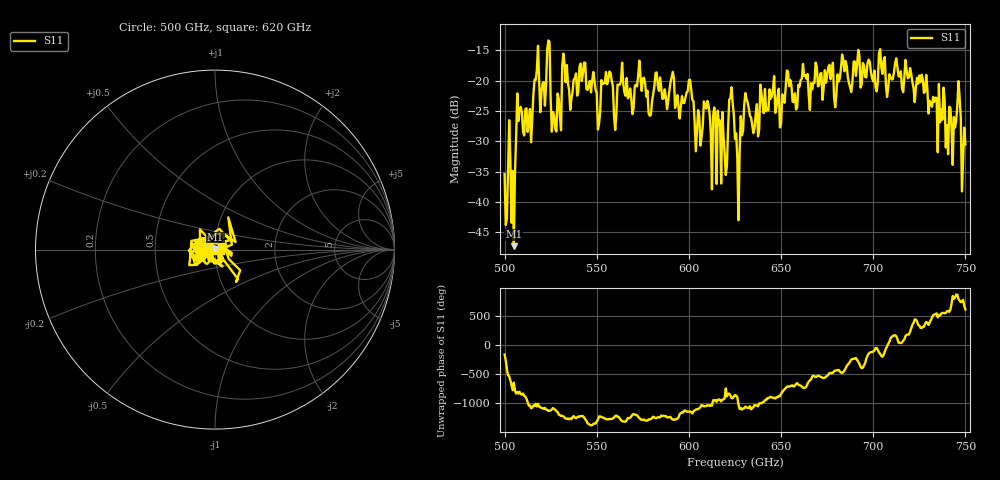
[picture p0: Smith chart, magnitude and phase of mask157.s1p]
!Created with skrf (http://scikit-rf.org).
# GHz S MA R 50.0
!freq magS11 angS11
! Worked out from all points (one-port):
!   401 points, 500 GHz to 750 GHz, reference 50 ohm
!   lowest |S11| = -47.3 dB at 505 GHz (marker M1), VSWR 1.01, Z = 50.1 + j0.407 ohm
!   |S11| at or under -10 dB: start of sweep to end of sweep
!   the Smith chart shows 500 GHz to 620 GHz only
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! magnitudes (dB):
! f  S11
! 500 GHz  -35.4
! 505 GHz  -47.3
! 508.1 GHz  -24.7
! 513.8 GHz  -24.7
! 516.9 GHz  -19.9
! 520.6 GHz  -20.4
! 523.8 GHz  -13.4
! 526.9 GHz  -25.8
! 531.2 GHz  -17.6
! 542.5 GHz  -18.8
! 550.6 GHz  -28.1
! 562.5 GHz  -20.6
! 593.8 GHz  -22.4
! 600 GHz  -19.9
! 605 GHz  -24.9
! 609.4 GHz  -24.6
! 618.8 GHz  -29.1
! 623.1 GHz  -21.1
! 625 GHz  -29.6
! 626.2 GHz  -32.6
! 631.2 GHz  -23.0
! 634.4 GHz  -27.4
! 656.2 GHz  -23.5
! 687.5 GHz  -21.2
! 718.8 GHz  -19.6
! 741.9 GHz  -24.5
! 746.2 GHz  -20.1
! 750 GHz  -30.5
